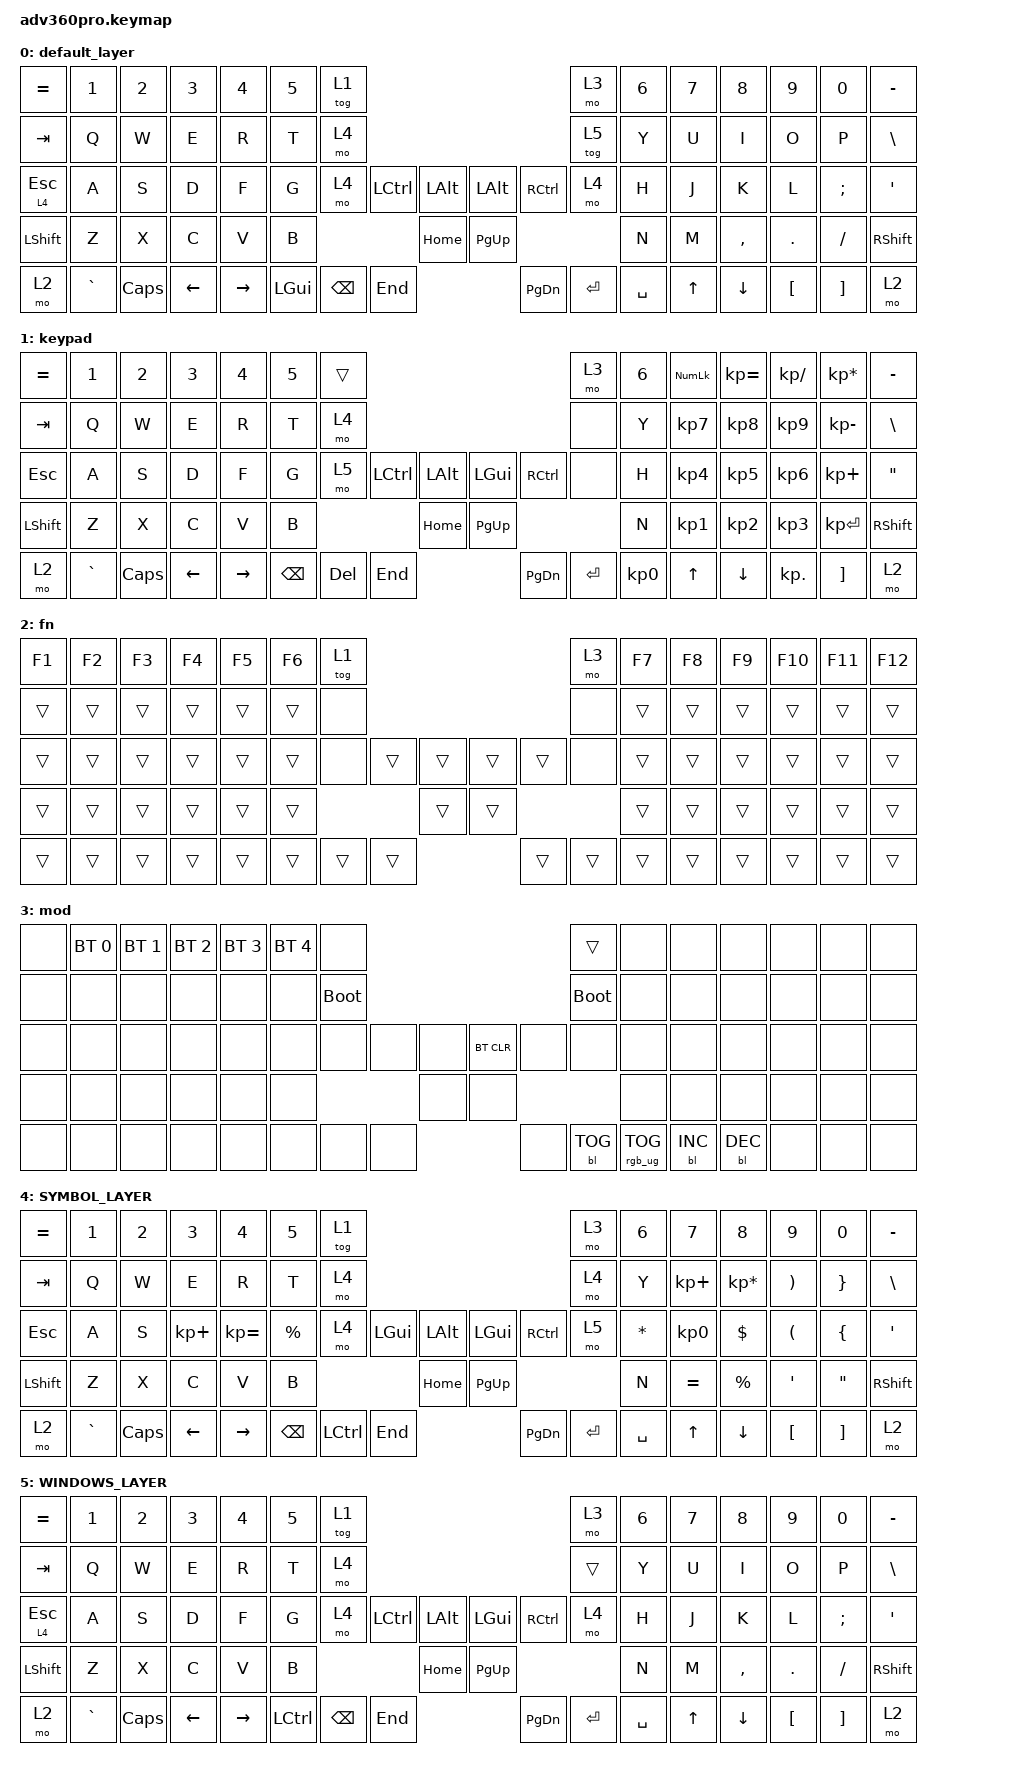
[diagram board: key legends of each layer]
#include <behaviors.dtsi>
#include <dt-bindings/zmk/keys.h>
#include <dt-bindings/zmk/bt.h>
#include <dt-bindings/zmk/rgb.h>
#include <dt-bindings/zmk/backlight.h>

&lt {
    compatible = "zmk,behavior-hold-tap";
    #binding-cells = <2>;
    tapping-term-ms = <200>;    // <---[[moderate duration]]
    quick-tap-ms = <0>;
    flavor = "balanced";
    bindings = <&mo>, <&kp>;
};



/ {
    macros {
         linkedin_url: macro1 {
            label = "LinkedIn URL";
            #binding-cells = <0>;
            bindings = <&macro_tap
                &kp H &kp T &kp T &kp P &kp S &kp COLON &kp SLASH &kp SLASH
                &kp L &kp I &kp N &kp K &kp E &kp D &kp I &kp N &kp DOT
                &kp C &kp O &kp M &kp SLASH &kp I &kp N &kp SLASH
                &kp F &kp R &kp A &kp N &kp C &kp I &kp S &kp MINUS
                &kp T &kp R &kp A &kp N &kp MINUS
                &kp 5 &kp 6 &kp 0 &kp B &kp 2 &kp A &kp 1 &kp 7 &kp 0 &kp SLASH
            >;
        };

        francistran_url: macro2 {
            label = "Francis Tran URL";
            #binding-cells = <0>;
            bindings = <&macro_tap
                &kp H &kp T &kp T &kp P &kp S &kp COLON &kp SLASH &kp SLASH
                &kp F &kp R &kp A &kp N &kp C &kp I &kp S &kp T &kp R &kp A &kp N &kp DOT
                &kp I &kp O &kp SLASH
            >;
        };

        github_url: macro3 {
            label = "GitHub URL";
            #binding-cells = <0>;
            bindings = <&macro_tap
                &kp H &kp T &kp T &kp P &kp S &kp COLON &kp SLASH &kp SLASH
                &kp G &kp I &kp T &kp H &kp U &kp B &kp DOT &kp C &kp O &kp M &kp SLASH
                &kp F &kp R &kp A &kp N &kp T &kp R &kp A &kp N &kp T &kp E &kp C &kp H
            >;
        };
    };


    keymap {
        compatible = "zmk,keymap";

        default_layer {
            bindings = <
                &kp EQUAL &kp N1    &kp N2   &kp N3   &kp N4     &kp N5 &tog 1                                                           &mo 3 &kp N6 &kp N7 &kp N8    &kp N9   &kp N0   &kp MINUS
                &kp TAB   &kp Q     &kp W    &kp E    &kp R      &kp T  &mo 4                                                            &tog 5 &kp Y  &kp U  &kp I     &kp O    &kp P    &kp BSLH
                &lt 4 ESC   &kp A     &kp S    &kp D    &kp F      &kp G  &mo 4           &kp LCTRL &kp LALT &kp LALT  &kp RCTRL           &mo 4 &kp H  &kp J  &kp K     &kp L    &kp SEMI &kp SINGLE_QUOTE
                &kp LSHFT &kp Z     &kp X    &kp C    &kp V      &kp B                            &kp HOME &kp PG_UP                           &kp N  &kp M  &kp COMMA &kp DOT  &kp FSLH &kp RSHFT
                &mo 2     &kp GRAVE &kp CAPS &kp LEFT &kp RIGHT                &kp LGUI &kp BSPC   &kp END  &kp PG_DN &kp ENTER &kp SPACE              &kp UP &kp DOWN  &kp LBKT &kp RBKT &mo 2
            >;
        };
        keypad {
            bindings = <
                &kp EQUAL &kp N1    &kp N2   &kp N3   &kp N4     &kp N5 &trans                                                           &mo 3 &kp N6 &kp KP_NUM &kp KP_EQUAL &kp KP_DIVIDE &kp KP_MULTIPLY &kp MINUS
                &kp TAB   &kp Q     &kp W    &kp E    &kp R      &kp T  &mo 4                                                            &none &kp Y  &kp KP_N7  &kp KP_N8    &kp KP_N9     &kp KP_MINUS    &kp BSLH
                &kp ESC   &kp A     &kp S    &kp D    &kp F      &kp G  &mo 5           &kp LCTRL &kp LALT &kp LGUI  &kp RCTRL           &none &kp H  &kp KP_N4  &kp KP_N5    &kp KP_N6     &kp KP_PLUS     &kp DOUBLE_QUOTES 
                &kp LSHFT &kp Z     &kp X    &kp C    &kp V      &kp B                            &kp HOME &kp PG_UP                           &kp N  &kp KP_N1  &kp KP_N2    &kp KP_N3     &kp KP_ENTER    &kp RSHFT
                &mo 2     &kp GRAVE &kp CAPS &kp LEFT &kp RIGHT                &kp BSPC &kp DEL   &kp END  &kp PG_DN &kp ENTER &kp KP_N0              &kp UP     &kp DOWN     &kp KP_DOT    &kp RBKT        &mo 2
            >;
        };
        fn {
            bindings = <
                &kp F1 &kp F2 &kp F3 &kp F4 &kp F5 &kp F6 &tog 1                                           &mo 3 &kp F7 &kp F8 &kp F9 &kp F10 &kp F11 &kp F12
                &trans &trans &trans &trans &trans &trans  &none                                           &none &trans &trans &trans &trans  &trans  &trans
                &trans &trans &trans &trans &trans &trans  &none        &trans &trans &trans &trans        &none &trans &trans &trans &trans  &trans  &trans
                &trans &trans &trans &trans &trans &trans                      &trans &trans                     &trans &trans &trans &trans  &trans  &trans
                &trans &trans &trans &trans &trans               &trans &trans &trans &trans &trans &trans              &trans &trans &trans  &trans  &trans
            >;
        };
        mod {
            bindings = <
                &none &bt BT_SEL 0 &bt BT_SEL 1 &bt BT_SEL 2 &bt BT_SEL 3 &bt BT_SEL 4 &none                                                               &trans      &none &none      &none      &none &none &none
                &none &none        &none        &none        &none        &none        &bootloader                                                         &bootloader &none &none      &none      &none &none &none
                &none &none        &none        &none        &none        &none        &none             &none &none &bt BT_CLR &none                      &none       &none &none      &none      &none &none &none
                &none &none        &none        &none        &none        &none                                &none &none                                             &none &none      &none      &none &none &none
                &none &none        &none        &none        &none                                 &none &none &none &none      &bl BL_TOG &rgb_ug RGB_TOG                   &bl BL_INC &bl BL_DEC &none &none &none
            >;
        };
        SYMBOL_LAYER {
            bindings = <
                &kp EQUAL &kp N1    &kp N2   &kp N3   &kp N4     &kp N5 &tog 1                                                           &mo 3 &kp N6 &kp N7 &kp N8    &kp N9   &kp N0   &kp MINUS
                &kp TAB   &kp Q     &kp W    &kp E    &kp R      &kp T  &mo 4                                                            &mo 4 &kp Y  &kp KP_PLUS  &kp KP_MULTIPLY     &kp RIGHT_PARENTHESIS    &kp RIGHT_BRACE    &kp BSLH
                &kp ESC   &kp A     &kp S     &kp KP_PLUS    &kp KP_EQUAL      &kp PERCENT  &mo 4           &kp LGUI &kp LALT &kp LGUI  &kp RCTRL           &mo 5 &kp ASTERISK &kp KP_N0  &kp DOLLAR   &kp LEFT_PARENTHESIS    &kp LEFT_BRACE &kp SINGLE_QUOTE
                &kp LSHFT &kp Z     &kp X    &kp C    &kp V      &kp B                            &kp HOME &kp PG_UP                           &kp N  &kp EQUAL   &kp PERCENT  &kp  SINGLE_QUOTE &kp  DOUBLE_QUOTES &kp RSHFT
                &mo 2     &kp GRAVE &kp CAPS &kp LEFT &kp RIGHT                &kp BSPC &kp LCTRL   &kp END  &kp PG_DN &kp ENTER &kp SPACE              &kp UP &kp DOWN  &kp LBKT &kp RBKT &mo 2
            >;
        };
        WINDOWS_LAYER {
            bindings = <
                &kp EQUAL &kp N1    &kp N2   &kp N3   &kp N4     &kp N5 &tog 1                                                           &mo 3 &kp N6 &kp N7 &kp N8    &kp N9   &kp N0   &kp MINUS
                &kp TAB   &kp Q     &kp W    &kp E    &kp R      &kp T  &mo 4                                                            &trans &kp Y  &kp U  &kp I     &kp O    &kp P    &kp BSLH
                &lt 4 ESC   &kp A     &kp S    &kp D    &kp F      &kp G  &mo 4           &kp LCTRL &kp LALT &kp LGUI  &kp RCTRL           &mo 4 &kp H  &kp J  &kp K     &kp L    &kp SEMI &kp SINGLE_QUOTE
                &kp LSHFT &kp Z     &kp X    &kp C    &kp V      &kp B                            &kp HOME &kp PG_UP                           &kp N  &kp M  &kp COMMA &kp DOT  &kp FSLH &kp RSHFT
                &mo 2     &kp GRAVE &kp CAPS &kp LEFT &kp RIGHT                &kp LCTRL &kp BSPC   &kp END  &kp PG_DN &kp ENTER &kp SPACE              &kp UP &kp DOWN  &kp LBKT &kp RBKT &mo 2
            >;
        };
    };
};
